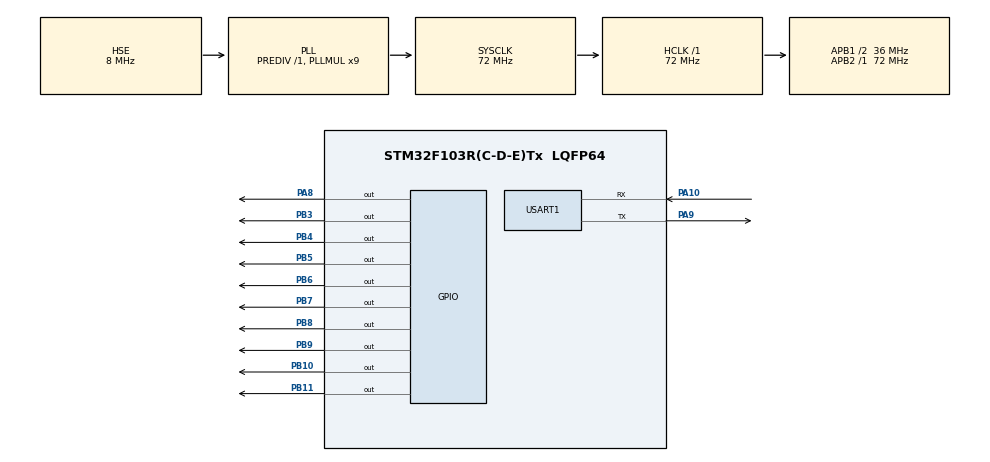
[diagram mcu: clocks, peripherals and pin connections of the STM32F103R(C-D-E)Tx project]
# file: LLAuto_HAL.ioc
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Dma.Request0=USART1_RX
Dma.Request1=USART1_TX
Dma.USART1_RX.0.Direction=DMA_PERIPH_TO_MEMORY
Dma.USART1_RX.0.Instance=DMA1_Channel5
Dma.USART1_RX.0.MemDataAlignment=DMA_MDATAALIGN_BYTE
Dma.USART1_RX.0.MemInc=DMA_MINC_ENABLE
Dma.USART1_RX.0.Mode=DMA_NORMAL
Dma.USART1_RX.0.PeriphDataAlignment=DMA_PDATAALIGN_BYTE
Dma.USART1_RX.0.PeriphInc=DMA_PINC_DISABLE
Dma.USART1_RX.0.Priority=DMA_PRIORITY_HIGH
Dma.USART1_TX.1.Direction=DMA_MEMORY_TO_PERIPH
Dma.USART1_TX.1.Instance=DMA1_Channel4
Dma.USART1_TX.1.MemDataAlignment=DMA_MDATAALIGN_BYTE
Dma.USART1_TX.1.MemInc=DMA_MINC_ENABLE
Dma.USART1_TX.1.Mode=DMA_NORMAL
Dma.USART1_TX.1.PeriphDataAlignment=DMA_PDATAALIGN_BYTE
Dma.USART1_TX.1.PeriphInc=DMA_PINC_DISABLE
Dma.USART1_TX.1.Priority=DMA_PRIORITY_HIGH
Mcu.Family=STM32F1
Mcu.Name=STM32F103R(C-D-E)Tx
Mcu.Package=LQFP64
NVIC.DMA1_Channel4_IRQn=true\:0\:0\:false\:false\:true\:false
NVIC.DMA1_Channel5_IRQn=true\:0\:0\:false\:false\:true\:false
NVIC.PriorityGroup=NVIC_PRIORITYGROUP_2
NVIC.TIM1_UP_IRQn=true\:1\:1\:true\:false\:true\:true
NVIC.TIM2_IRQn=true\:0\:1\:false\:false\:true\:true
NVIC.TIM3_IRQn=true\:1\:1\:true\:false\:true\:true
PA10.Mode=Asynchronous
PA10.Signal=USART1_RX
PA13.Mode=Serial_Wire
PA13.Signal=SYS_JTMS-SWDIO
PA14.Mode=Serial_Wire
PA14.Signal=SYS_JTCK-SWCLK
PA8.GPIO_ModeDefaultOutputPP=GPIO_MODE_OUTPUT_PP
PA8.PinState=GPIO_PIN_SET
PA8.Signal=GPIO_Output
PA9.Mode=Asynchronous
PA9.Signal=USART1_TX
PB10.GPIO_ModeDefaultOutputPP=GPIO_MODE_OUTPUT_PP
PB10.GPIO_Speed=GPIO_SPEED_FREQ_LOW
PB10.PinState=GPIO_PIN_SET
PB10.Signal=GPIO_Output
PB11.PinState=GPIO_PIN_SET
PB11.Signal=GPIO_Output
PB3.GPIO_ModeDefaultOutputPP=GPIO_MODE_OUTPUT_PP
PB3.GPIO_Speed=GPIO_SPEED_FREQ_LOW
PB3.PinState=GPIO_PIN_SET
PB3.Signal=GPIO_Output
PB4.GPIO_ModeDefaultOutputPP=GPIO_MODE_OUTPUT_PP
PB4.GPIO_Speed=GPIO_SPEED_FREQ_LOW
PB4.PinState=GPIO_PIN_SET
PB4.Signal=GPIO_Output
PB5.GPIO_ModeDefaultOutputPP=GPIO_MODE_OUTPUT_PP
PB5.GPIO_Speed=GPIO_SPEED_FREQ_LOW
PB5.PinState=GPIO_PIN_SET
PB5.Signal=GPIO_Output
PB6.GPIO_ModeDefaultOutputPP=GPIO_MODE_OUTPUT_PP
PB6.GPIO_Speed=GPIO_SPEED_FREQ_LOW
PB6.PinState=GPIO_PIN_SET
PB6.Signal=GPIO_Output
PB7.GPIO_ModeDefaultOutputPP=GPIO_MODE_OUTPUT_PP
PB7.GPIO_Speed=GPIO_SPEED_FREQ_LOW
PB7.PinState=GPIO_PIN_SET
PB7.Signal=GPIO_Output
PB8.GPIO_ModeDefaultOutputPP=GPIO_MODE_OUTPUT_PP
PB8.GPIO_Speed=GPIO_SPEED_FREQ_LOW
PB8.PinState=GPIO_PIN_SET
PB8.Signal=GPIO_Output
PB9.GPIO_ModeDefaultOutputPP=GPIO_MODE_OUTPUT_PP
PB9.GPIO_Speed=GPIO_SPEED_FREQ_LOW
PB9.PinState=GPIO_PIN_SET
PB9.Signal=GPIO_Output
PD0-OSC_IN.Mode=HSE-External-Oscillator
PD0-OSC_IN.Signal=RCC_OSC_IN
PD1-OSC_OUT.Mode=HSE-External-Oscillator
PD1-OSC_OUT.Signal=RCC_OSC_OUT
ProjectManager.HeapSize=0x200
ProjectManager.StackSize=0x400
ProjectManager.TargetToolchain=MDK-ARM V5
RCC.AHBFreq_Value=72000000
RCC.APB1CLKDivider=RCC_HCLK_DIV2
RCC.APB1Freq_Value=36000000
RCC.APB1TimFreq_Value=72000000
RCC.APB2Freq_Value=72000000
RCC.APB2TimFreq_Value=72000000
RCC.HCLKFreq_Value=72000000
RCC.PLLMUL=RCC_PLL_MUL9
RCC.PLLSourceVirtual=RCC_PLLSOURCE_HSE
RCC.SYSCLKFreq_VALUE=72000000
RCC.SYSCLKSource=RCC_SYSCLKSOURCE_PLLCLK
RCC.USBFreq_Value=72000000
TIM1.AutoReloadPreload=TIM_AUTORELOAD_PRELOAD_ENABLE
TIM1.Period=9999
TIM1.Prescaler=7199
TIM1.RepetitionCounter=0
TIM2.AutoReloadPreload=TIM_AUTORELOAD_PRELOAD_ENABLE
TIM2.Period=1999
TIM2.Prescaler=7199
TIM3.Period=9
TIM3.Prescaler=71
USART1.VirtualMode=VM_ASYNC
VP_TIM1_VS_ClockSourceINT.Mode=Internal
VP_TIM2_VS_ClockSourceINT.Mode=Internal
VP_TIM3_VS_ClockSourceINT.Mode=Internal
board=LLAuto_HAL

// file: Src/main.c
/**
  ******************************************************************************
  * @file           : main.c
  * @brief          : Main program body
  ******************************************************************************
  ** This notice applies to any and all portions of this file
  * that are not between comment pairs USER CODE BEGIN and
  * USER CODE END. Other portions of this file, whether
  * inserted by the user or by software development tools
  * are owned by their respective copyright owners.
  *
  * COPYRIGHT(c) 2018 STMicroelectronics
  *
  * Redistribution and use in source and binary forms, with or without modification,
  * are permitted provided that the following conditions are met:
  *   1. Redistributions of source code must retain the above copyright notice,
  *      this list of conditions and the following disclaimer.
  *   2. Redistributions in binary form must reproduce the above copyright notice,
  *      this list of conditions and the following disclaimer in the documentation
  *      and/or other materials provided with the distribution.
  *   3. Neither the name of STMicroelectronics nor the names of its contributors
  *      may be used to endorse or promote products derived from this software
  *      without specific prior written permission.
  *
  * THIS SOFTWARE IS PROVIDED BY THE COPYRIGHT HOLDERS AND CONTRIBUTORS "AS IS"
  * AND ANY EXPRESS OR IMPLIED WARRANTIES, INCLUDING, BUT NOT LIMITED TO, THE
  * IMPLIED WARRANTIES OF MERCHANTABILITY AND FITNESS FOR A PARTICULAR PURPOSE ARE
  * DISCLAIMED. IN NO EVENT SHALL THE COPYRIGHT HOLDER OR CONTRIBUTORS BE LIABLE
  * FOR ANY DIRECT, INDIRECT, INCIDENTAL, SPECIAL, EXEMPLARY, OR CONSEQUENTIAL
  * DAMAGES (INCLUDING, BUT NOT LIMITED TO, PROCUREMENT OF SUBSTITUTE GOODS OR
  * SERVICES; LOSS OF USE, DATA, OR PROFITS; OR BUSINESS INTERRUPTION) HOWEVER
  * CAUSED AND ON ANY THEORY OF LIABILITY, WHETHER IN CONTRACT, STRICT LIABILITY,
  * OR TORT (INCLUDING NEGLIGENCE OR OTHERWISE) ARISING IN ANY WAY OUT OF THE USE
  * OF THIS SOFTWARE, EVEN IF ADVISED OF THE POSSIBILITY OF SUCH DAMAGE.
  *
  ******************************************************************************
  */
#include "main.h"
#include "stm32f1xx_hal.h"

/* USER CODE BEGIN Includes */
#define num_tim 3
/* USER CODE END Includes */

TIM_HandleTypeDef htim1;
TIM_HandleTypeDef htim2;
TIM_HandleTypeDef htim3;

UART_HandleTypeDef huart1;
DMA_HandleTypeDef hdma_usart1_rx;
DMA_HandleTypeDef hdma_usart1_tx;

/* USER CODE BEGIN PV */
/* Private variables ---------------------------------------------------------*/
TIM_HandleTypeDef *time[num_tim] = {&htim1, &htim2 ,&htim3};
uint8_t aTxStartMessages[] = "\r\n******UART commucition using IT******\r\n";
uint8_t aRxBuffer[5];
uint8_t press_b[7]={"000000A"};
uint16_t now[2]={0}, next[2]={0};
int i = 0 ;
uint16_t GPIO_p[9] = {GPIO_PIN_3, GPIO_PIN_4, GPIO_PIN_5,  GPIO_PIN_6,\
                      GPIO_PIN_7, GPIO_PIN_8, GPIO_PIN_9, GPIO_PIN_10, GPIO_PIN_11};

#define dma_len 6
uint8_t USART1_DMA_Buf1[dma_len]; //BUF1
uint8_t USART1_DMA_Buf2[dma_len]; //BUF2
typedef enum {BUF_NO1=0,BUF_NO2=1}BUF_NO;
BUF_NO Free_Buf_Now;
HAL_StatusTypeDef Buf_Ok;

/* USER CODE END PV */

void SystemClock_Config(void);
static void MX_GPIO_Init(void);
static void MX_DMA_Init(void);
static void MX_USART1_UART_Init(void);
static void MX_TIM2_Init(void);
static void MX_TIM1_Init(void);
static void MX_TIM3_Init(void);

/* USER CODE BEGIN PFP */
/* Private function prototypes -----------------------------------------------*/
void ARR_Setup(TIM_HandleTypeDef *htim,uint16_t delay);
/* USER CODE END PFP */

int main(void)
{

  /* MCU Configuration----------------------------------------------------------*/

  /* Reset of all peripherals, Initializes the Flash interface and the Systick. */
  HAL_Init();

  /* Configure the system clock */
  SystemClock_Config();

  /* Initialize all configured peripherals */
  MX_GPIO_Init();
  MX_DMA_Init();
  MX_USART1_UART_Init();
  MX_TIM2_Init();
  MX_TIM1_Init();
  MX_TIM3_Init();
  /* USER CODE BEGIN 2 */
	for(int i = 0 ; i < num_tim ; i++){
		if(HAL_TIM_Base_Start_IT(time[i]) != HAL_OK){
			while(1);
		}
	}
	//HAL_UART_Receive_DMA(&huart1,USART1_DMA_Buf1,sizeof(USART1_DMA_Buf1));
	HAL_UART_Transmit_DMA(&huart1 ,(uint8_t*)aTxStartMessages,sizeof(aTxStartMessages));
  HAL_GPIO_WritePin(GPIOB,GPIO_PIN_All,GPIO_PIN_SET);
	HAL_UART_Receive_DMA(&huart1,press_b,sizeof(press_b));
  /* USER CODE END 2 */

  /* Infinite loop */
  while (1){

  }

}

void SystemClock_Config(void)
{

  RCC_OscInitTypeDef RCC_OscInitStruct;
  RCC_ClkInitTypeDef RCC_ClkInitStruct;

    /**Initializes the CPU, AHB and APB busses clocks
    */
  RCC_OscInitStruct.OscillatorType = RCC_OSCILLATORTYPE_HSE;
  RCC_OscInitStruct.HSEState = RCC_HSE_ON;
  RCC_OscInitStruct.HSEPredivValue = RCC_HSE_PREDIV_DIV1;
  RCC_OscInitStruct.HSIState = RCC_HSI_ON;
  RCC_OscInitStruct.PLL.PLLState = RCC_PLL_ON;
  RCC_OscInitStruct.PLL.PLLSource = RCC_PLLSOURCE_HSE;
  RCC_OscInitStruct.PLL.PLLMUL = RCC_PLL_MUL9;
  if (HAL_RCC_OscConfig(&RCC_OscInitStruct) != HAL_OK)
  {
    _Error_Handler(__FILE__, __LINE__);
  }

    /**Initializes the CPU, AHB and APB busses clocks
    */
  RCC_ClkInitStruct.ClockType = RCC_CLOCKTYPE_HCLK|RCC_CLOCKTYPE_SYSCLK
                              |RCC_CLOCKTYPE_PCLK1|RCC_CLOCKTYPE_PCLK2;
  RCC_ClkInitStruct.SYSCLKSource = RCC_SYSCLKSOURCE_PLLCLK;
  RCC_ClkInitStruct.AHBCLKDivider = RCC_SYSCLK_DIV1;
  RCC_ClkInitStruct.APB1CLKDivider = RCC_HCLK_DIV2;
  RCC_ClkInitStruct.APB2CLKDivider = RCC_HCLK_DIV1;

  if (HAL_RCC_ClockConfig(&RCC_ClkInitStruct, FLASH_LATENCY_2) != HAL_OK)
  {
    _Error_Handler(__FILE__, __LINE__);
  }

    /**Configure the Systick interrupt time
    */
  HAL_SYSTICK_Config(HAL_RCC_GetHCLKFreq()/1000);

    /**Configure the Systick
    */
  HAL_SYSTICK_CLKSourceConfig(SYSTICK_CLKSOURCE_HCLK);

  /* SysTick_IRQn interrupt configuration */
  HAL_NVIC_SetPriority(SysTick_IRQn, 0, 0);
}

/* TIM1 init function */
static void MX_TIM1_Init(void)
{

  TIM_ClockConfigTypeDef sClockSourceConfig;
  TIM_MasterConfigTypeDef sMasterConfig;

  htim1.Instance = TIM1;
  htim1.Init.Prescaler = 7199;
  htim1.Init.CounterMode = TIM_COUNTERMODE_UP;
  htim1.Init.Period = 9999;
  htim1.Init.ClockDivision = TIM_CLOCKDIVISION_DIV1;
  htim1.Init.RepetitionCounter = 0;
  htim1.Init.AutoReloadPreload = TIM_AUTORELOAD_PRELOAD_ENABLE;
  if (HAL_TIM_Base_Init(&htim1) != HAL_OK)
  {
    _Error_Handler(__FILE__, __LINE__);
  }

  sClockSourceConfig.ClockSource = TIM_CLOCKSOURCE_INTERNAL;
  if (HAL_TIM_ConfigClockSource(&htim1, &sClockSourceConfig) != HAL_OK)
  {
    _Error_Handler(__FILE__, __LINE__);
  }

  sMasterConfig.MasterOutputTrigger = TIM_TRGO_RESET;
  sMasterConfig.MasterSlaveMode = TIM_MASTERSLAVEMODE_DISABLE;
  if (HAL_TIMEx_MasterConfigSynchronization(&htim1, &sMasterConfig) != HAL_OK)
  {
    _Error_Handler(__FILE__, __LINE__);
  }

}

/* TIM2 init function */
static void MX_TIM2_Init(void)
{

  TIM_ClockConfigTypeDef sClockSourceConfig;
  TIM_MasterConfigTypeDef sMasterConfig;

  htim2.Instance = TIM2;
  htim2.Init.Prescaler = 7199;
  htim2.Init.CounterMode = TIM_COUNTERMODE_UP;
  htim2.Init.Period = 1999;
  htim2.Init.ClockDivision = TIM_CLOCKDIVISION_DIV1;
  htim2.Init.AutoReloadPreload = TIM_AUTORELOAD_PRELOAD_ENABLE;
  if (HAL_TIM_Base_Init(&htim2) != HAL_OK)
  {
    _Error_Handler(__FILE__, __LINE__);
  }

  sClockSourceConfig.ClockSource = TIM_CLOCKSOURCE_INTERNAL;
  if (HAL_TIM_ConfigClockSource(&htim2, &sClockSourceConfig) != HAL_OK)
  {
    _Error_Handler(__FILE__, __LINE__);
  }

  sMasterConfig.MasterOutputTrigger = TIM_TRGO_RESET;
  sMasterConfig.MasterSlaveMode = TIM_MASTERSLAVEMODE_DISABLE;
  if (HAL_TIMEx_MasterConfigSynchronization(&htim2, &sMasterConfig) != HAL_OK)
  {
    _Error_Handler(__FILE__, __LINE__);
  }

}

/* TIM3 init function */
static void MX_TIM3_Init(void)
{

  TIM_ClockConfigTypeDef sClockSourceConfig;
  TIM_MasterConfigTypeDef sMasterConfig;

  htim3.Instance = TIM3;
  htim3.Init.Prescaler = 71;
  htim3.Init.CounterMode = TIM_COUNTERMODE_UP;
  htim3.Init.Period = 9;
  htim3.Init.ClockDivision = TIM_CLOCKDIVISION_DIV1;
  htim3.Init.AutoReloadPreload = TIM_AUTORELOAD_PRELOAD_DISABLE;
  if (HAL_TIM_Base_Init(&htim3) != HAL_OK)
  {
    _Error_Handler(__FILE__, __LINE__);
  }

  sClockSourceConfig.ClockSource = TIM_CLOCKSOURCE_INTERNAL;
  if (HAL_TIM_ConfigClockSource(&htim3, &sClockSourceConfig) != HAL_OK)
  {
    _Error_Handler(__FILE__, __LINE__);
  }

  sMasterConfig.MasterOutputTrigger = TIM_TRGO_RESET;
  sMasterConfig.MasterSlaveMode = TIM_MASTERSLAVEMODE_DISABLE;
  if (HAL_TIMEx_MasterConfigSynchronization(&htim3, &sMasterConfig) != HAL_OK)
  {
    _Error_Handler(__FILE__, __LINE__);
  }

}

/* USART1 init function */
static void MX_USART1_UART_Init(void)
{

  huart1.Instance = USART1;
  huart1.Init.BaudRate = 115200;
  huart1.Init.WordLength = UART_WORDLENGTH_8B;
  huart1.Init.StopBits = UART_STOPBITS_1;
  huart1.Init.Parity = UART_PARITY_NONE;
  huart1.Init.Mode = UART_MODE_TX_RX;
  huart1.Init.HwFlowCtl = UART_HWCONTROL_NONE;
  huart1.Init.OverSampling = UART_OVERSAMPLING_16;
  if (HAL_UART_Init(&huart1) != HAL_OK)
  {
    _Error_Handler(__FILE__, __LINE__);
  }

}

static void MX_DMA_Init(void)
{
  /* DMA controller clock enable */
  __HAL_RCC_DMA1_CLK_ENABLE();

  /* DMA interrupt init */
  /* DMA1_Channel4_IRQn interrupt configuration */
  HAL_NVIC_SetPriority(DMA1_Channel4_IRQn, 0, 0);
  HAL_NVIC_EnableIRQ(DMA1_Channel4_IRQn);
  /* DMA1_Channel5_IRQn interrupt configuration */
  HAL_NVIC_SetPriority(DMA1_Channel5_IRQn, 0, 0);
  HAL_NVIC_EnableIRQ(DMA1_Channel5_IRQn);

}

/** Configure pins as
        * Analog
        * Input
        * Output
        * EVENT_OUT
        * EXTI
*/
static void MX_GPIO_Init(void)
{

  GPIO_InitTypeDef GPIO_InitStruct;

  /* GPIO Ports Clock Enable */
  __HAL_RCC_GPIOD_CLK_ENABLE();
  __HAL_RCC_GPIOB_CLK_ENABLE();
  __HAL_RCC_GPIOA_CLK_ENABLE();

  /*Configure GPIO pin Output Level */
  HAL_GPIO_WritePin(GPIOB, GPIO_PIN_10|GPIO_PIN_11|GPIO_PIN_3|GPIO_PIN_4
                          |GPIO_PIN_5|GPIO_PIN_6|GPIO_PIN_7|GPIO_PIN_8
                          |GPIO_PIN_9, GPIO_PIN_SET);

  /*Configure GPIO pin Output Level */
  HAL_GPIO_WritePin(GPIOA, GPIO_PIN_8, GPIO_PIN_SET);

  /*Configure GPIO pins : PB10 PB11 PB3 PB4
                           PB5 PB6 PB7 PB8
                           PB9 */
  GPIO_InitStruct.Pin = GPIO_PIN_10|GPIO_PIN_11|GPIO_PIN_3|GPIO_PIN_4
                          |GPIO_PIN_5|GPIO_PIN_6|GPIO_PIN_7|GPIO_PIN_8
                          |GPIO_PIN_9;
  GPIO_InitStruct.Mode = GPIO_MODE_OUTPUT_PP;
  GPIO_InitStruct.Speed = GPIO_SPEED_FREQ_LOW;
  HAL_GPIO_Init(GPIOB, &GPIO_InitStruct);

  /*Configure GPIO pin : PA8 */
  GPIO_InitStruct.Pin = GPIO_PIN_8;
  GPIO_InitStruct.Mode = GPIO_MODE_OUTPUT_PP;
  GPIO_InitStruct.Speed = GPIO_SPEED_FREQ_LOW;
  HAL_GPIO_Init(GPIOA, &GPIO_InitStruct);

}

/* USER CODE BEGIN 4 */
void HAL_UART_RxCpltCallback(UART_HandleTypeDef *huart)
{
	if(press_b[6] !='A'){
		HAL_UART_Receive_DMA(&huart1,press_b,sizeof(press_b));
	}
	else{
		//HAL_GPIO_WritePin(GPIOA,GPIO_PIN_8,!HAL_GPIO_ReadPin(GPIOA,GPIO_PIN_8));
		now[0] = next[0];
		now[1] = next[1];
		next[0] = press_b[0] | press_b[1]<<8;
		next[1] = press_b[2] | press_b[3]<<8;

		#ifdef DEBUG
		uint8_t temp_t[17] = {'0'};
		for(int i = 0 ; i < 16 ; i++){
			if(now[0] & 1<<i){
				temp_t[i] = '1';
			}
			else{
				temp_t[i] = '0';
			}
		}
		temp_t[16] = '\n';
		HAL_UART_Transmit(&huart1,temp_t,sizeof(temp_t),0x3F3F3F3F);
		#endif

		uint16_t time_delay = press_b[4] | press_b[5]<<8;

		ARR_Setup(&htim1,time_delay);
		//HAL_TIM_Base_Start_IT(&htim1);

		HAL_UART_Init(&huart1);

		HAL_UART_Receive_DMA(&huart1,press_b,sizeof(press_b));
	}

}

void HAL_TIM_PeriodElapsedCallback(TIM_HandleTypeDef *htim)
{
	if(htim->Instance == TIM1){

		#ifdef DEBUG
				HAL_GPIO_WritePin(GPIOA,GPIO_PIN_8,!HAL_GPIO_ReadPin(GPIOA,GPIO_PIN_8));
		#endif

		for(int i = 0 ; i < 9 ; i++){
			if((now[0] & 1<<i )){
				if(now[1] & 1<<i){
				HAL_GPIO_WritePin(GPIOB, GPIO_p[i],!HAL_GPIO_ReadPin(GPIOB, GPIO_p[i]));
				}
				else{
					HAL_GPIO_WritePin(GPIOB, GPIO_p[i], GPIO_PIN_RESET);
				}
			}
		}

		HAL_Delay(5);

		for(int i = 0 ; i < 9 ; i++){
			if((now[0] & 1<<i) && !(now[1] & i<<i)){
				HAL_GPIO_WritePin(GPIOB, GPIO_p[i], GPIO_PIN_SET);
			}
		}
	}
	//HAL_UART_Transmit_DMA(&huart1,temp_t,sizeof(temp_t),0x3F3F3F3F);
}

void ARR_Setup(TIM_HandleTypeDef *htim,uint16_t delay)
{
	TIM_TypeDef *TIMx = htim->Instance;
	TIMx->ARR = delay;
}

/* USER CODE END 4 */

void _Error_Handler(char *file, int line)
{
  while(1)
  {
  }
}

/************************ (C) COPYRIGHT STMicroelectronics *****END OF FILE****/
